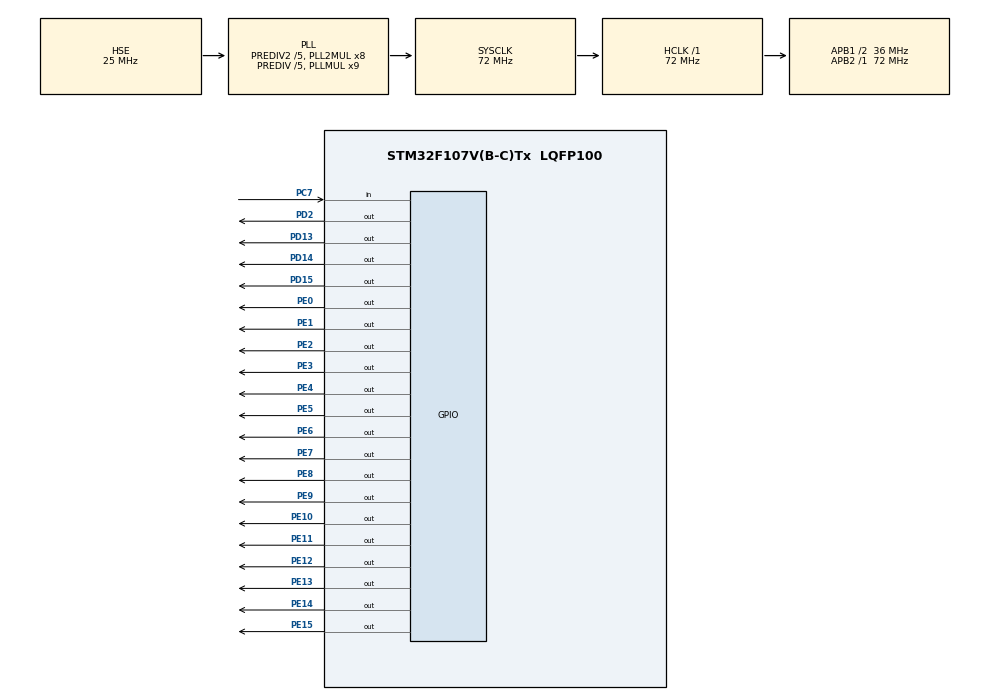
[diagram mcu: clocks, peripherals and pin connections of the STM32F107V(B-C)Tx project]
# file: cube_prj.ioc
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Mcu.Family=STM32F1
Mcu.Name=STM32F107V(B-C)Tx
Mcu.Package=LQFP100
NVIC.PriorityGroup=NVIC_PRIORITYGROUP_0
NVIC.TIM7_IRQn=true\:0\:1\:true\:false\:true
OSC_IN.Mode=HSE-External-Oscillator
OSC_IN.Signal=RCC_OSC_IN
OSC_OUT.Mode=HSE-External-Oscillator
OSC_OUT.Signal=RCC_OSC_OUT
PA13.Mode=Serial_Wire
PA13.Signal=SYS_JTMS-SWDIO
PA14.Mode=Serial_Wire
PA14.Signal=SYS_JTCK-SWCLK
PC14-OSC32_IN.Mode=LSE-External-Oscillator
PC14-OSC32_IN.Signal=RCC_OSC32_IN
PC15-OSC32_OUT.Mode=LSE-External-Oscillator
PC15-OSC32_OUT.Signal=RCC_OSC32_OUT
PC7.Signal=GPIO_Input
PD13.Signal=GPIO_Output
PD14.Signal=GPIO_Output
PD15.Signal=GPIO_Output
PD2.Signal=GPIO_Output
PE0.GPIO_Speed=GPIO_SPEED_HIGH
PE0.Signal=GPIO_Output
PE1.GPIO_Speed=GPIO_SPEED_HIGH
PE1.Signal=GPIO_Output
PE10.GPIO_Speed=GPIO_SPEED_HIGH
PE10.Signal=GPIO_Output
PE11.GPIO_Speed=GPIO_SPEED_HIGH
PE11.Signal=GPIO_Output
PE12.GPIO_Speed=GPIO_SPEED_HIGH
PE12.Signal=GPIO_Output
PE13.GPIO_Speed=GPIO_SPEED_HIGH
PE13.Signal=GPIO_Output
PE14.GPIO_Speed=GPIO_SPEED_HIGH
PE14.Signal=GPIO_Output
PE15.GPIO_Speed=GPIO_SPEED_HIGH
PE15.Signal=GPIO_Output
PE2.GPIO_Speed=GPIO_SPEED_HIGH
PE2.Signal=GPIO_Output
PE3.GPIO_Speed=GPIO_SPEED_HIGH
PE3.Signal=GPIO_Output
PE4.GPIO_Speed=GPIO_SPEED_HIGH
PE4.Signal=GPIO_Output
PE5.GPIO_Speed=GPIO_SPEED_HIGH
PE5.Signal=GPIO_Output
PE6.GPIO_Speed=GPIO_SPEED_HIGH
PE6.Signal=GPIO_Output
PE7.GPIO_Speed=GPIO_SPEED_HIGH
PE7.Signal=GPIO_Output
PE8.GPIO_Speed=GPIO_SPEED_HIGH
PE8.Signal=GPIO_Output
PE9.GPIO_Speed=GPIO_SPEED_HIGH
PE9.Signal=GPIO_Output
ProjectManager.HeapSize=0x400
ProjectManager.StackSize=0x200
ProjectManager.TargetToolchain=MDK-ARM V5
RCC.AHBFreq_Value=72000000
RCC.APB1CLKDivider=RCC_HCLK_DIV2
RCC.APB1Freq_Value=36000000
RCC.APB1TimFreq_Value=72000000
RCC.APB2Freq_Value=72000000
RCC.APB2TimFreq_Value=72000000
RCC.HCLKFreq_Value=72000000
RCC.HSEDivPLL=RCC_HSE_PREDIV_DIV5
RCC.HSE_VALUE=25000000
RCC.HSIState=RCC_HSI_ON
RCC.PLLMUL=RCC_PLL_MUL9
RCC.PLLSourceVirtual=RCC_PLLSOURCE_HSE
RCC.Prediv1Source=RCC_PREDIV1_SOURCE_PLL2
RCC.Prediv2=RCC_HSE_PREDIV2_DIV5
RCC.SYSCLKFreq_VALUE=72000000
RCC.SYSCLKSource=RCC_SYSCLKSOURCE_PLLCLK
RCC.USBFreq_Value=48000000
TIM7.Period=9
TIM7.Prescaler=7199
TIM7.TIM_MasterOutputTrigger=TIM_TRGO_UPDATE
VP_CRC_VS_CRC.Mode=CRC_Activate
VP_TIM7_VS_ClockSourceINT.Mode=Enable_Timer
board=cube_prj

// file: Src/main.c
/**
  ******************************************************************************
  * File Name          : main.c
  * Description        : Main program body
  ******************************************************************************
  *
  * COPYRIGHT(c) 2016 STMicroelectronics
  *
  * Redistribution and use in source and binary forms, with or without modification,
  * are permitted provided that the following conditions are met:
  *   1. Redistributions of source code must retain the above copyright notice,
  *      this list of conditions and the following disclaimer.
  *   2. Redistributions in binary form must reproduce the above copyright notice,
  *      this list of conditions and the following disclaimer in the documentation
  *      and/or other materials provided with the distribution.
  *   3. Neither the name of STMicroelectronics nor the names of its contributors
  *      may be used to endorse or promote products derived from this software
  *      without specific prior written permission.
  *
  * THIS SOFTWARE IS PROVIDED BY THE COPYRIGHT HOLDERS AND CONTRIBUTORS "AS IS"
  * AND ANY EXPRESS OR IMPLIED WARRANTIES, INCLUDING, BUT NOT LIMITED TO, THE
  * IMPLIED WARRANTIES OF MERCHANTABILITY AND FITNESS FOR A PARTICULAR PURPOSE ARE
  * DISCLAIMED. IN NO EVENT SHALL THE COPYRIGHT HOLDER OR CONTRIBUTORS BE LIABLE
  * FOR ANY DIRECT, INDIRECT, INCIDENTAL, SPECIAL, EXEMPLARY, OR CONSEQUENTIAL
  * DAMAGES (INCLUDING, BUT NOT LIMITED TO, PROCUREMENT OF SUBSTITUTE GOODS OR
  * SERVICES; LOSS OF USE, DATA, OR PROFITS; OR BUSINESS INTERRUPTION) HOWEVER
  * CAUSED AND ON ANY THEORY OF LIABILITY, WHETHER IN CONTRACT, STRICT LIABILITY,
  * OR TORT (INCLUDING NEGLIGENCE OR OTHERWISE) ARISING IN ANY WAY OUT OF THE USE
  * OF THIS SOFTWARE, EVEN IF ADVISED OF THE POSSIBILITY OF SUCH DAMAGE.
  *
  ******************************************************************************
  */
#include "stm32f1xx_hal.h"
#include "crc.h"
#include "tim.h"
#include "gpio.h"

/* USER CODE BEGIN Includes */
#include "lcd_ssd1289.h"
#include "gui.h"                /**< STemwin */
//#include "guidemo.h"         /**< STemwin */
#include "wm.h"                /**< STemwin 窗口管理器 */
#include "delay.h"
#include "led.h"
//#include "key.h"
//#include "app_led.h"
//#include "exti_dup.h"
#include "tim_dup.h"
#include "wm_test.h"

/* USER CODE END Includes */

/* USER CODE BEGIN PV */
/* Private variables ---------------------------------------------------------*/

/* USER CODE END PV */

void SystemClock_Config(void);

/* USER CODE BEGIN PFP */
/* Private function prototypes -----------------------------------------------*/

/* USER CODE END PFP */

/* USER CODE BEGIN 0 */
void ProgBarMainTask(void);
void SimpleProgBarMainTask(void);
void WM_VideoMainTask(void);
void WM_SampleMainTask(void);
void WM_LateClippingMainTask(void);
/* USER CODE END 0 */

int main(void)
{

  /* USER CODE BEGIN 1 */
//    uint16_t i = 0;

  /* USER CODE END 1 */

  /* MCU Configuration----------------------------------------------------------*/

  /* Reset of all peripherals, Initializes the Flash interface and the Systick. */
  HAL_Init();

  /* Configure the system clock */
  SystemClock_Config();

  /* Initialize all configured peripherals */
  MX_GPIO_Init();
  MX_CRC_Init();
  MX_TIM7_Init();

  /* USER CODE BEGIN 2 */
    HAL_TIM_Base_Start_IT(&htim7);      /**< 定时器启动代码此处用于STemwin心跳 */

    GUI_Init();
//    GUI_SetBkColor(GUI_BLACK);
//    GUI_SetColor(GUI_WHITE);
//    GUI_SetFont(&GUI_Font8x16_ASCII);

/** ------------------ STemwin Demo Created By ZBT Start -------------- */
    WM_test_function();

/** ------------------ STemwin Demo Created By ZBT End -------------- */

/** ------------------ STemwin Official Demo Start --------------------- */
//    GUIDEMO_Main();           /**< 官方演示程序 */
//    ProgBarMainTask();         /**< 彩色进度条 */
//    SimpleProgBarMainTask();   /**< 简单进度条 */
//    WM_SampleMainTask();
//    WM_LateClippingMainTask();
//    WM_VideoMainTask();

/** -------- --------- STemwin Official Demo End ----------------------- */
  /* USER CODE END 2 */

  /* Infinite loop */
  while (1)
  {

  /* USER CODE BEGIN 3 */
//    GUI_Exec();
//    GUI_Delay(100);
//    WM_test_function();

  }
  /* USER CODE END 3 */

}

/** System Clock Configuration
*/
void SystemClock_Config(void)
{

  RCC_OscInitTypeDef RCC_OscInitStruct;
  RCC_ClkInitTypeDef RCC_ClkInitStruct;

  RCC_OscInitStruct.OscillatorType = RCC_OSCILLATORTYPE_HSE;
  RCC_OscInitStruct.HSEState = RCC_HSE_ON;
  RCC_OscInitStruct.HSEPredivValue = RCC_HSE_PREDIV_DIV5;
  RCC_OscInitStruct.Prediv1Source = RCC_PREDIV1_SOURCE_PLL2;
  RCC_OscInitStruct.PLL.PLLState = RCC_PLL_ON;
  RCC_OscInitStruct.PLL.PLLSource = RCC_PLLSOURCE_HSE;
  RCC_OscInitStruct.PLL.PLLMUL = RCC_PLL_MUL9;
  RCC_OscInitStruct.PLL2.PLL2State = RCC_PLL2_ON;
  RCC_OscInitStruct.PLL2.PLL2MUL = RCC_PLL2_MUL8;
  RCC_OscInitStruct.PLL2.HSEPrediv2Value = RCC_HSE_PREDIV2_DIV5;
  HAL_RCC_OscConfig(&RCC_OscInitStruct);

  RCC_ClkInitStruct.ClockType = RCC_CLOCKTYPE_HCLK|RCC_CLOCKTYPE_SYSCLK
                              |RCC_CLOCKTYPE_PCLK1|RCC_CLOCKTYPE_PCLK2;
  RCC_ClkInitStruct.SYSCLKSource = RCC_SYSCLKSOURCE_PLLCLK;
  RCC_ClkInitStruct.AHBCLKDivider = RCC_SYSCLK_DIV1;
  RCC_ClkInitStruct.APB1CLKDivider = RCC_HCLK_DIV2;
  RCC_ClkInitStruct.APB2CLKDivider = RCC_HCLK_DIV1;
  HAL_RCC_ClockConfig(&RCC_ClkInitStruct, FLASH_LATENCY_2);

  HAL_SYSTICK_Config(HAL_RCC_GetHCLKFreq()/1000);

  HAL_SYSTICK_CLKSourceConfig(SYSTICK_CLKSOURCE_HCLK);

  __HAL_RCC_PLLI2S_ENABLE();

  /* SysTick_IRQn interrupt configuration */
  HAL_NVIC_SetPriority(SysTick_IRQn, 0, 0);
}

/************************ (C) COPYRIGHT STMicroelectronics *****END OF FILE****/
